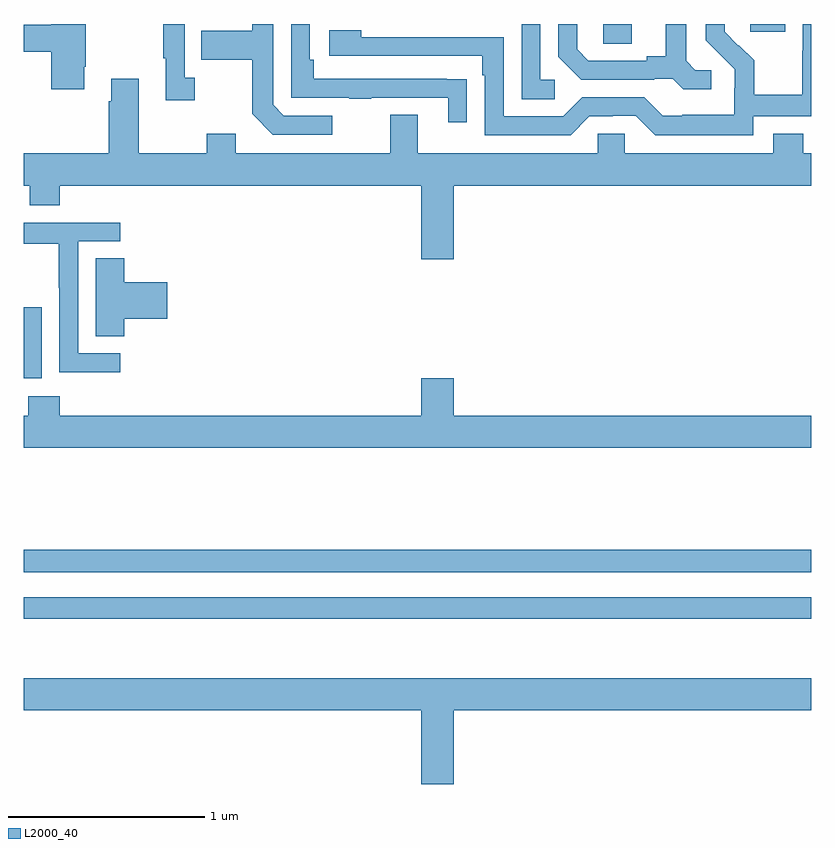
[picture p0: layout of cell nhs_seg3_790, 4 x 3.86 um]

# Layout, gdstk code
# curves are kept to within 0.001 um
import gdstk
lib = gdstk.Library(unit=1e-6, precision=1e-09)
def R(c, l, rs):  # rectangles x0, y0, x1, y1
    for r in rs: c.add(gdstk.rectangle(r[:2], r[2:], *l))
def P(c, l, *ps):  # polygons
    for p in ps: c.add(gdstk.Polygon(p, *l))
L2000_40 = (2000, 40)

nhs_seg3_790 = lib.new_cell('nhs_seg3_790')
R(nhs_seg3_790, L2000_40, [(151,701.382,155,701.49), (151,701.616,155,701.732), (151,702.602,151.093,702.963), (153.942,704.299,154.087,704.4), (154.688,704.361,154.867,704.4)])
P(nhs_seg3_790, L2000_40, [(154.492,704.166),(154.41,704.166),(154.363,704.213),(154.363,704.4),(154.259,704.4),(154.259,704.237),(154.163,704.237),(154.163,704.214),(153.868,704.214),(153.811,704.271),(153.811,704.4),(153.714,704.4),(153.714,704.234),(153.83,704.118),(154.202,704.118),(154.202,704.121),(154.296,704.121),(154.348,704.069),(154.492,704.069)],
  [(152.566,703.935),(152.322,703.935),(152.268,703.989),(152.268,704.4),(152.16,704.4),(152.16,704.365),(151.903,704.365),(151.903,704.218),(152.16,704.218),(152.16,703.945),(152.265,703.839),(152.566,703.839)],
  [(154.704,703.932),(155,703.932),(155,704.4),(154.956,704.4),(154.956,704.264),(154.954,704.264),(154.954,704.041),(154.709,704.041),(154.709,704.215),(154.632,704.292),(154.629,704.289),(154.559,704.36),(154.559,704.4),(154.464,704.4),(154.464,704.318),(154.61,704.17),(154.61,704.073),(154.608,704.073),(154.608,703.939),(154.345,703.939),(154.345,703.935),(154.245,703.935),(154.152,704.028),(153.837,704.028),(153.741,703.932),(153.438,703.932),(153.438,704.334),(152.714,704.334),(152.714,704.368),(152.553,704.368),(152.553,704.238),(153.329,704.238),(153.329,704.141),(153.342,704.141),(153.342,703.836),(153.777,703.836),(153.873,703.932),(153.992,703.932),(153.992,703.935),(154.107,703.935),(154.207,703.835),(154.704,703.835)],
  [(151.309,704.182),(151.317,704.182),(151.317,704.4),(151.142,704.4),(151.142,704.396),(151,704.396),(151,704.26),(151.142,704.26),(151.142,704.07),(151.309,704.07)],
  [(153.251,704.12),(153.149,704.12),(153.149,704.121),(152.474,704.121),(152.474,704.218),(152.454,704.218),(152.454,704.4),(152.358,704.4),(152.358,704.025),(152.653,704.025),(152.653,704.02),(152.765,704.02),(152.765,704.025),(153.155,704.025),(153.155,703.902),(153.251,703.902)],
  [(151.87,704.126),(151.818,704.126),(151.818,704.4),(151.71,704.4),(151.71,704.225),(151.721,704.225),(151.721,704.013),(151.87,704.013)],
  [(153.697,704.118),(153.624,704.118),(153.624,704.4),(153.528,704.4),(153.528,704.017),(153.697,704.017)],
  [(153.184,703.58),(155,703.58),(155,703.744),(154.958,703.744),(154.958,703.843),(154.805,703.843),(154.805,703.744),(154.053,703.744),(154.053,703.842),(153.915,703.842),(153.915,703.744),(153.001,703.744),(153.001,703.939),(152.861,703.939),(152.861,703.744),(152.077,703.744),(152.077,703.843),(151.93,703.843),(151.93,703.744),(151.585,703.744),(151.585,704.122),(151.445,704.122),(151.445,704.009),(151.433,704.009),(151.433,703.744),(151,703.744),(151,703.58),(151.031,703.58),(151.031,703.481),(151.184,703.481),(151.184,703.58),(153.02,703.58),(153.02,703.206),(153.184,703.206)],
  [(151.492,702.729),(151.278,702.729),(151.278,703.296),(151.492,703.296),(151.492,703.392),(151,703.392),(151,703.284),(151.18,703.284),(151.18,703.06),(151.182,703.06),(151.182,702.631),(151.492,702.631)],
  [(151.511,702.905),(151.729,702.905),(151.729,703.088),(151.511,703.088),(151.511,703.211),(151.367,703.211),(151.367,702.814),(151.511,702.814)],
  [(155,702.412),(153.184,702.412),(153.184,702.601),(153.02,702.601),(153.02,702.412),(151.184,702.412),(151.184,702.511),(151.024,702.511),(151.024,702.412),(151,702.412),(151,702.248),(155,702.248)],
  [(153.184,700.916),(155,700.916),(155,701.08),(151,701.08),(151,700.916),(153.02,700.916),(153.02,700.542),(153.184,700.542)])

lib.write_gds('nhs_seg3_790.gds')
